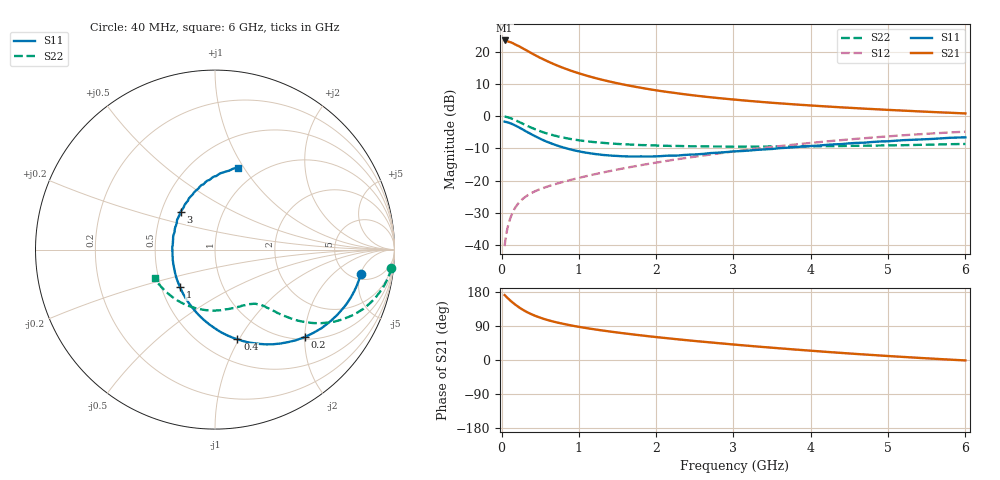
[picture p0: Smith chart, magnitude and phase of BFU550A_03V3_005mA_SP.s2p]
! Filename:  P:\Prog\Test\Noise\ATS_data\Testdata_Net\03 Spar\BFU550A_APG2013_35_C05_03p3V_005mA_SP_CM01_D.s2p
! Date/Time: Tue 16/Apr/2013 15:10:17
! BFU550A_APG2013_35_C05_03p3V_1to35mA_SP_CM01_Bias4_R.s2p
! MDIF S-parameter v. bias file
! BFU530A_APG2013_33_A09_08p0V_015mA_SP_CM01
! Date/time Mon Apr 15 14:22:32 2013
! VAR V_out= 3.3000
! VAR I_out= 4.9950
! VAR V_in= 0.8222
! VAR I_in= 0.0538
! Device data file deembeded for feedlines and parallel
! Original file: \03 Spar\BFU550A_APG2013_35_C05_03p3V_005mA_SP_CM01_R.s2p
! Feed-files: PR017V01_150413_Feed1.s2p, PR017V01_150413_Feed2.s2p
! Parallel-file: PR017V01_150413_Par.s2p
# MHz S MA R 50
!  Freq-MHz  S11-mag  S11-arg  S21-mag  S21-arg  S12-mag  S12-arg  S22-mag  S22-arg
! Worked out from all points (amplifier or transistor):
!   98 points, 40 MHz to 6 GHz, reference 50 ohm
!   highest |S21| = 23.5 dB at 40 MHz (marker M1)
!   |S21| within 3 dB of that: start of sweep to 317.5 MHz
!   unconditionally stable (mu >= 1): 1.613 GHz to 2.63 GHz
!   at 300 MHz: K = 0.41, MSG = 22.9 dB, |S12| = -25.1 dB
!   at 1.6 GHz: K = 1.00, MSG = 12.9 dB, |S12| = -16.1 dB
!   at 6 GHz: K = 0.89, MSG = 2.8 dB, |S12| = -4.8 dB
!   S11 on the Smith chart (normalised r, x): 40 MHz: 5.91, -5.10; 200 MHz: 1.05, -2.00; 400 MHz: 0.72, -0.98; 1 GHz: 0.62, -0.28; 3 GHz: 0.63, +0.29; 6 GHz: 0.80, +0.94
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40  0.8244 -9.7  14.97 171.4  0.009672 85.0  0.9877 -5.9
80  0.8034 -19.0  14.52 163.3  0.01906 79.9  0.9649 -11.8
120  0.7725 -28.0  14.01 155.8  0.02754 75.4  0.9309 -17.1
160  0.7374 -36.4  13.3 149.1  0.03524 71.5  0.8909 -21.7
200  0.698 -44.3  12.58 142.9  0.04193 68.2  0.8457 -25.8
240  0.6566 -51.7  11.93 137.1  0.0478 65.7  0.8027 -29.2
280  0.6189 -58.4  11.2 132.1  0.053 63.6  0.7612 -32.1
340  0.5631 -67.8  10.23 125.4  0.05972 61.2  0.7035 -35.6
400  0.5148 -76.0  9.329 119.7  0.06559 59.7  0.6543 -38.2
500  0.4486 -88.2  8.065 111.8  0.07416 58.1  0.5875 -41.5
550  0.4202 -93.9  7.55 108.3  0.07787 57.7  0.558 -42.7
650  0.3765 -103.8  6.642 102.5  0.08546 57.5  0.5151 -44.6
800  0.3281 -117.1  5.612 95.4  0.0962 57.9  0.467 -46.5
1000  0.2857 -133.0  4.639 87.5  0.1106 58.7  0.4244 -48.6
1050  0.2782 -136.8  4.443 85.8  0.1143 59.0  0.4162 -49.1
1500  0.2424 -166.3  3.245 72.5  0.1491 60.3  0.3722 -54.2
2050  0.2404 166.1  2.471 59.5  0.1953 60.0  0.3501 -62.2
3000  0.2851 132.2  1.819 40.9  0.2841 56.3  0.3375 -80.3
3100  0.2884 129.3  1.774 39.1  0.2941 55.6  0.3381 -82.5
4100  0.3505 105.8  1.444 23.0  0.396 47.7  0.343 -105.9
5200  0.4258 86.1  1.223 8.1  0.5077 36.4  0.3559 -133.4
6000  0.4715 74.3  1.105 -1.2  0.5763 27.2  0.3716 -154.9
